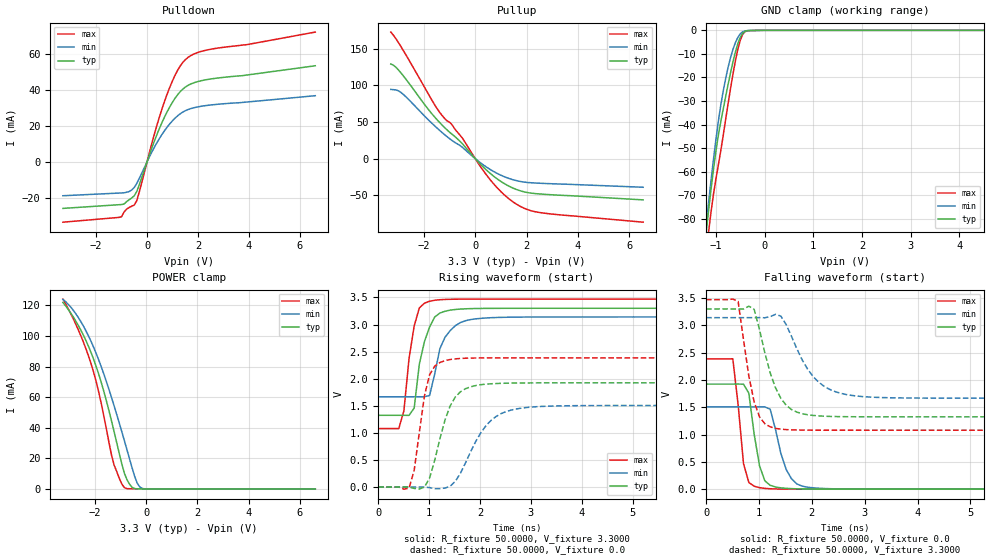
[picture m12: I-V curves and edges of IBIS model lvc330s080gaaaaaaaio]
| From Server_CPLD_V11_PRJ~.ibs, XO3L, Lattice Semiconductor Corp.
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[Model]   lvc330s080gaaaaaaaio
Model_type   I/O
Polarity   Non-Inverting
Enable   Active-Low
Vinl =   0.8000V
Vinh =   2.0000V
Vmeas =   1.500000V
Cref =   0.0F
Rref =   1.0000M
Vref =   0.0V
C_comp   4.2000pF   3.8000pF   7.5000pF
[Temperature Range]   25.0000   0.1050k   -40.0000
[Voltage Range]   3.3000V   3.1400V   3.4700V
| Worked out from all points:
|   slope of the pulldown table from 0 to 0.495 V, typ, clamps not added: 26.1 ohm
|   slope of the pullup table from 0 to 0.495 V, typ, clamps not added: 28.5 ohm
|   GND clamp passes 1 mA (typ) near -0.43 V on its own axis
|   POWER clamp passes 1 mA (typ) near -0.53 V on its own axis
|   rising waveform, R_fixture 50.0000, V_fixture 3.3000: 20-80 % time 251ps typ, 301ps min, 192ps max; typ from 1.32 V to 3.3 V
|   rising waveform, R_fixture 50.0000, V_fixture 0.0: 20-80 % time 363ps typ, 551ps min, 235ps max; typ from 0 V to 1.92 V
|   falling waveform, R_fixture 50.0000, V_fixture 0.0: 20-80 % time 188ps typ, 267ps min, 144ps max; typ from 1.92 V to 0 V
|   falling waveform, R_fixture 50.0000, V_fixture 3.3000: 20-80 % time 370ps typ, 535ps min, 253ps max; typ from 3.3 V to 1.32 V
[Pulldown]
|Voltage   I(typ)   I(min)   I(max)
-3.3V     -25.84mA   -18.8mA    -33.51mA
-1.1V     -23.79mA   -17.31mA   -30.85mA
-1V       -23.69mA   -17.24mA   -30.48mA
-900mV    -23.39mA   -17.18mA   -27.82mA
-500mV    -18.83mA   -14.17mA   -23.98mA
-400mV    -16.36mA   -11.87mA   -21.45mA
300mV     12.05mA    8.472mA    16.09mA
800mV     28.21mA    19.56mA    38.15mA
1.2V      37.37mA    25.65mA    50.98mA
1.6V      42.51mA    29.09mA    58.05mA
2.4V      45.92mA    31.51mA    62.4mA
6.6V      53.48mA    36.83mA    72.22mA
[Pullup]
|Voltage   I(typ)   I(min)   I(max)
-3.3V     129.1mA    94.49mA    172.6mA
-3V       120.9mA    92.51mA    158.2mA
-2.8V     112.4mA    87.26mA    146.8mA
-1.4V     49.55mA    38.76mA    63.56mA
-900mV    33.01mA    24.56mA    45.81mA
-500mV    20.13mA    15.27mA    27.71mA
500mV     -17.65mA   -12.95mA   -25.2mA
1V        -31.11mA   -22.58mA   -45.03mA
1.4V      -38.97mA   -27.96mA   -57.12mA
1.9V      -45.16mA   -31.85mA   -67.49mA
2.5V      -48.04mA   -33.42mA   -73.33mA
6.55V     -56.13mA   -38.94mA   -86.56mA
[GND_clamp]
|Voltage   I(typ)   I(min)   I(max)
-3.3V     -955.3mA   -930.3mA   -978mA
-1.2V     -86.21mA   -82.95mA   -94.94mA
-1.15V    -76.76mA   -73.31mA   -85.77mA
-1.1V     -67.73mA   -63.97mA   -77.32mA
-1V       -51.54mA   -46.59mA   -63.26mA
-900mV    -38.9mA    -31.9mA    -51.31mA
-800mV    -28.29mA   -20.61mA   -38.02mA
-700mV    -18.14mA   -11.66mA   -24.86mA
-600mV    -9.315mA   -5.302mA   -13.12mA
-450mV    -1.255mA   -637uA     -1.701mA
0V        0A         0A         0A
6.6V      0A         0A         0A
[POWER_clamp]
|Voltage   I(typ)   I(min)   I(max)
-3.25V    121.9mA    123.9mA    124.1mA
-2.65V    106.9mA    112.1mA    104.1mA
-2.35V    96.95mA    103.3mA    91.59mA
-2.05V    84.73mA    92.58mA    76.25mA
-1.65V    63.65mA    75mA       47.49mA
-1.35V    44.31mA    59.69mA    21.99mA
-1.25V    37.38mA    54.28mA    15.6mA
-850mV    10.32mA    31.58mA    939uA
-650mV    3.193mA    19.74mA    210uA
-350mV    132.1uA    3.862mA    199.7uA
-150mV    104.6uA    375.8uA    197.7uA
6.6V      -56.35nA   -1.463uA   -71.55uA
[Ramp]
| variable   typ   min   max
dV/dt_r  1.1542/0.3590n   0.9035/0.5460n   1.4308/0.2329n
dV/dt_f  1.1855/0.3662n   0.8843/0.5297n   1.4345/0.2507n
R_load = 50.0000
[Rising Waveform]
R_fixture=   50.0000
V_fixture=   3.3000
V_fixture_min=   3.1400
V_fixture_max=   3.4700
|time   V(typ)   V(min)   V(max)
0s        1.324V     1.666V     1.079V
404ps     1.324V     1.666V     1.079V
505.1ps   1.324V     1.666V     1.407V
606.1ps   1.323V     1.666V     2.373V
707.1ps   1.46V      1.666V     2.973V
808.1ps   2.269V     1.667V     3.306V
1.01ns    2.956V     1.691V     3.43V
1.313ns   3.246V     2.765V     3.463V
1.818ns   3.293V     3.091V     3.469V
10ns      3.3V       3.14V      3.47V
[Rising Waveform]
R_fixture=   50.0000
V_fixture=   0.0
V_fixture_min=   0.0
V_fixture_max=   0.0
|time   V(typ)   V(min)   V(max)
0s        830nV      1.065uV    812.2nV
606.1ps   -647.3uV   2.343uV    -19.28mV
707.1ps   -25.56mV   18.24uV    307.2mV
909.1ps   -1.644mV   -352.6uV   1.685V
1.01ns    168.3mV    -10.05mV   2.075V
1.313ns   1.24V      -19.03mV   2.334V
1.717ns   1.816V     450.2mV    2.378V
2.121ns   1.9V       1.136V     2.384V
2.727ns   1.921V     1.444V     2.385V
10ns      1.924V     1.506V     2.385V
[Falling Waveform]
R_fixture=   50.0000
V_fixture=   0.0
V_fixture_min=   0.0
V_fixture_max=   0.0
|time   V(typ)   V(min)   V(max)
0s        1.924V     1.506V     2.385V
505.1ps   1.924V     1.506V     2.387V
707.1ps   1.923V     1.506V     469.1mV
808.1ps   1.757V     1.506V     123.1mV
1.01ns    427.9mV    1.507V     27.45mV
1.212ns   71.02mV    1.464V     7.412mV
1.414ns   24.43mV    655.3mV    2.129mV
1.616ns   9.884mV    189mV      652.9uV
1.919ns   2.628mV    35.9mV     184.5uV
10ns      -6.753uV   -8.585uV   -14.06uV
[Falling Waveform]
R_fixture=   50.0000
V_fixture=   3.3000
V_fixture_min=   3.1400
V_fixture_max=   3.4700
|time   V(typ)   V(min)   V(max)
0s        3.3V       3.14V      3.47V
606.1ps   3.3V       3.14V      3.436V
808.1ps   3.351V     3.14V      2.072V
909.1ps   3.292V     3.14V      1.597V
1.111ns   2.497V     3.138V     1.198V
1.313ns   1.855V     3.2V       1.113V
1.616ns   1.458V     2.796V     1.086V
2.02ns    1.35V      2.067V     1.08V
2.626ns   1.327V     1.737V     1.079V
10ns      1.324V     1.666V     1.079V
